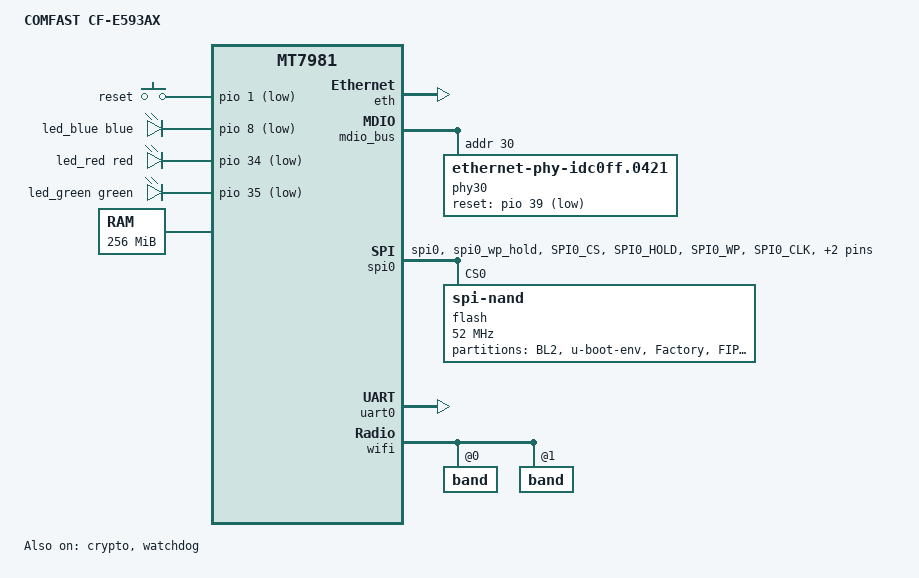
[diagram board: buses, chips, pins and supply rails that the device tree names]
// SPDX-License-Identifier: GPL-2.0-or-later OR MIT

/dts-v1/;

#include "mt7981b.dtsi"

/ {
	model = "COMFAST CF-E593AX";
	compatible = "comfast,cf-e593ax", "mediatek,mt7981";

	aliases {
        label-mac-device = &gmac0;
		led-boot = &led_red;
		led-failsafe = &led_red;
		led-running = &led_green;
		led-upgrade = &led_blue;
		serial0 = &uart0;
	};

	chosen {
		bootargs-override = "console=ttyS0,115200n8";
		stdout-path = "serial0:115200n8";
	};

	gpio-keys {
		compatible = "gpio-keys";

		reset {
			label = "reset";
			linux,code = <KEY_RESTART>;
			gpios = <&pio 1 GPIO_ACTIVE_LOW>;
		};
	};

	leds {
		compatible = "gpio-leds";

		led_blue: blue {
			color = <LED_COLOR_ID_BLUE>;
			function = LED_FUNCTION_STATUS;
			gpios = <&pio 8 GPIO_ACTIVE_LOW>;
		};

		led_red: red {
			color = <LED_COLOR_ID_RED>;
			function = LED_FUNCTION_STATUS;
			gpios = <&pio 34 GPIO_ACTIVE_LOW>;
		};

		led_green: green {
			color = <LED_COLOR_ID_GREEN>;
			function = LED_FUNCTION_STATUS;
			gpios = <&pio 35 GPIO_ACTIVE_LOW>;
		};
	};

	memory@40000000 {
		device_type = "memory";
		reg = <0 0x40000000 0 0x10000000>;
	};
};

&crypto {
	status = "okay";
};

&eth {
	pinctrl-names = "default";
	pinctrl-0 = <&mdio_pins>;
	status = "okay";

	/* LAN */
	gmac0: mac@0 {
		compatible = "mediatek,eth-mac";
		reg = <0>;
		nvmem-cells = <&macaddr_factory_e000 0>;
		nvmem-cell-names = "mac-address";
		phy-mode = "sgmii";
		phy-handle = <&phy30>;
		managed = "in-band-status";
	};

	/* WAN */
	gmac1: mac@1 {
		compatible = "mediatek,eth-mac";
		reg = <1>;
		nvmem-cells = <&macaddr_factory_e000 1>;
		nvmem-cell-names = "mac-address";
		phy-mode = "gmii";
		phy-handle = <&int_gbe_phy>;
	};
};

&mdio_bus {
	/* Airoha AN8801SB Gigabit PHY */
	phy30: phy@30 {
		compatible = "ethernet-phy-idc0ff.0421";
		reg = <30>;
		reset-gpios = <&pio 39 GPIO_ACTIVE_LOW>;
		reset-assert-us = <10000>;
		reset-deassert-us = <10000>;
		eee-broken-100tx;
		eee-broken-1000t;
	};
};

&pio {
	spi0_flash_pins: spi0-pins {
		mux {
			function = "spi";
			groups = "spi0", "spi0_wp_hold";
		};
		conf-pu {
			pins = "SPI0_CS", "SPI0_HOLD", "SPI0_WP";
			drive-strength = <MTK_DRIVE_8mA>;
			bias-pull-up = <MTK_PUPD_SET_R1R0_11>;
		};
		conf-pd {
			pins = "SPI0_CLK", "SPI0_MOSI", "SPI0_MISO";
			drive-strength = <MTK_DRIVE_8mA>;
			bias-pull-down = <MTK_PUPD_SET_R1R0_11>;
		};
	};
};

&spi0 {
	#address-cells = <1>;
	#size-cells = <0>;
	pinctrl-names = "default";
	pinctrl-0 = <&spi0_flash_pins>;
	status = "okay";

	/* Winbond SPI NAND 128MB */
	flash@0 {
		compatible = "spi-nand";
		reg = <0>;

		spi-max-frequency = <52000000>;
		spi-rx-bus-width = <4>;
		spi-tx-bus-width = <4>;

		spi-cal-enable;
		spi-cal-mode = "read-data";
		spi-cal-datalen = <7>;
		spi-cal-data = /bits/ 8 <0x53 0x50 0x49 0x4E 0x41 0x4E 0x44>;
		spi-cal-addrlen = <5>;
		spi-cal-addr = /bits/ 32 <0x0 0x0 0x0 0x0 0x0>;

		mediatek,nmbm;
		mediatek,bmt-max-ratio = <1>;
		mediatek,bmt-max-reserved-blocks = <64>;

		partitions {
			compatible = "fixed-partitions";
			#address-cells = <1>;
			#size-cells = <1>;

			partition@0 {
				label = "BL2";
				reg = <0x00000 0x0100000>;
				read-only;
			};

			partition@100000 {
				label = "u-boot-env";
				reg = <0x0100000 0x0080000>;
				read-only;
			};

			partition@180000 {
				label = "Factory";
				reg = <0x180000 0x0200000>;
				read-only;

				nvmem-layout {
					compatible = "fixed-layout";
					#address-cells = <1>;
					#size-cells = <1>;

					eeprom_factory_0: eeprom@0 {
						reg = <0x0 0x1000>;
					};

					macaddr_factory_e000: macaddr@e000 {
						compatible = "mac-base";
						reg = <0xe000 0x6>;
						#nvmem-cell-cells = <1>;
					};
				};
			};

			partition@380000 {
				label = "FIP";
				reg = <0x380000 0x0200000>;
				read-only;
			};

			partition@580000 {
				label = "ubi";
				reg = <0x580000 0x4000000>;
				compatible = "linux,ubi";
			};
		};
	};
};

&uart0 {
	status = "okay";
};

&watchdog {
	status = "okay";
};

&wifi {
	nvmem-cells = <&eeprom_factory_0>;
	nvmem-cell-names = "eeprom";
	status = "okay";

	band@0 {
		reg = <0>;
		nvmem-cells = <&macaddr_factory_e000 2>;
		nvmem-cell-names = "mac-address";
	};

	band@1 {
		reg = <1>;
		nvmem-cells = <&macaddr_factory_e000 3>;
		nvmem-cell-names = "mac-address";
	};
};
